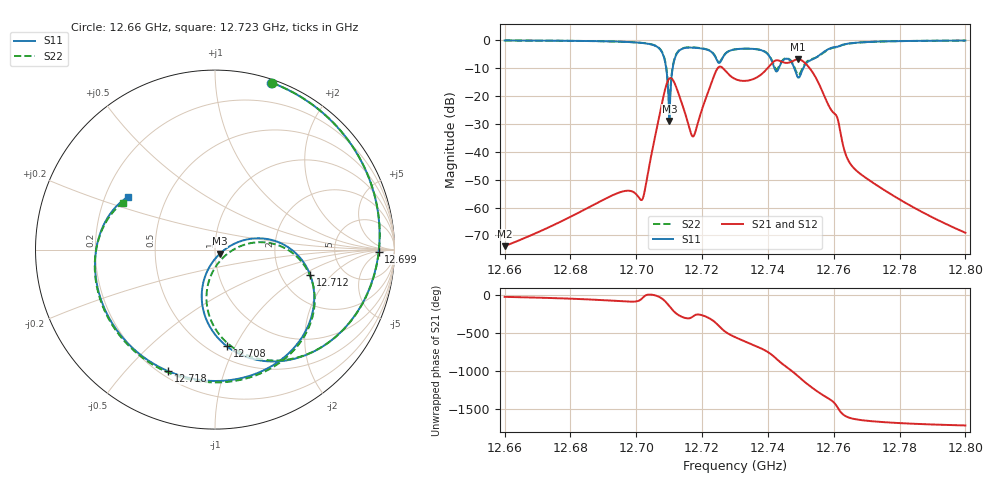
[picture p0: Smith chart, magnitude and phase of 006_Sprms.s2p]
! TOUCHSTONE file generated by CST MICROWAVE STUDIO
! Date and time: Wed Jul 31 10:53:12 2024
! Project name: WaveGuide_BPF-Ver4.1_U-shape_Ku_T3_C4_CWA_2.cst
! Parameters = {cavity_h=16; cavity_l0=10; cavity_l1=15.1816; cavity_l2=16.8329; cavity_l3=17.0852; cavity_l4=17.2877; cavity_l5=17.0867; cavity_l6=17.5606; cavity_r=2.5; cavity_screw_l=0.5; cavity_screw_r=1.5; cavity_w=8; iris_h00=0; iris_h01=8.8383; iris_h112=0; iris_h12=5.592; iris_h211=3.6511; i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
! Header version: 2018
! Port assignment regex: !\s*Touchstone port\s*([0-9]+)\s*=\s*(CST MWS port|CST DS port)\s*([0-9]+|Zmin|Zmax)\s*\(\"(.*)\"\)(\s*mode\s*([0-9]+))?.*
! Touchstone port assignment:
! Touchstone port 1 = CST MWS port 1 ("")
! Touchstone port 2 = CST MWS port 2 ("")
# GHz S RI R 50
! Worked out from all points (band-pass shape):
!   5001 points, 12.66 GHz to 12.8 GHz, reference 50 ohm
!   highest |S21| = -6.90 dB at 12.749 GHz (marker M1); lowest = -73.8 dB at 12.66 GHz (marker M2)
!   |S21| within 3 dB of the highest: 12.72486 GHz to 12.72615 GHz (1.283 MHz wide, 0.0101 % of centre); 12.74003 GHz to 12.75254 GHz (12.52 MHz wide, 0.0982 % of centre)
!   lowest |S11| = -29.0 dB at 12.71 GHz (marker M3), VSWR 1.07, Z = 52.8 - j2.38 ohm
!   |S11| at or under -10 dB: 12.70908 GHz to 12.71107 GHz (1.985 MHz wide, 0.0156 % of centre); 12.74195 GHz to 12.74333 GHz (1.383 MHz wide, 0.0109 % of centre); 12.74799 GHz to 12.75076 GHz (2.768 MHz wide, 0.0217 % of centre)
!   |S22| runs from -23.9 to -0.2 dB; largest |S21 - S12| = 1e-09
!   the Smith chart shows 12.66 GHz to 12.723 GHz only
!   S11 on the Smith chart (normalised r, x): 12.66 GHz: 0.03, +1.39; 12.699 GHz: 21, -3; 12.708 GHz: 0.61, -0.93; 12.712 GHz: 2.90, -1.19; 12.718 GHz: 0.23, -0.66; 12.723 GHz: 0.30, +0.26
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12.66  0.3128 0.9308  0.000188 -7.75e-05  0.000188 -7.75e-05  0.316 0.9298
12.68335  0.7045 0.6565  0.000528 -0.000677  0.000528 -0.000677  0.7053 0.6561
12.699  0.9118 -0.0114  0.000149 -0.00191  0.000149 -0.00191  0.9136 -0.00285
12.70208  0.8443 -0.2542  0.00132 -0.00072  0.00132 -0.00072  0.8513 -0.2415
12.70668  0.3906 -0.6185  0.0335 -0.0105  0.0335 -0.0105  0.4216 -0.6099
12.70816  0.0664 -0.5388  0.0512 -0.0765  0.0512 -0.0765  0.1034 -0.548
12.71006  0.0275 -0.0225  -0.1692 -0.1148  -0.1692 -0.1148  0.047 -0.0429
12.71219  0.531 -0.1427  -0.0631 0.125  -0.0631 0.125  0.5382 -0.1687
12.7179  -0.2619 -0.6769  -0.00336 0.0219  -0.00336 0.0219  -0.2481 -0.6903
12.72342  -0.4839 0.294  0.198 0.0757  0.198 0.0757  -0.5111 0.2619
12.726  -0.3366 0.3005  0.0284 -0.3239  0.0284 -0.3239  -0.3575 0.2916
12.73  0.2327 0.639  -0.1959 0.0454  -0.1959 0.0454  0.2011 0.6489
12.7342  0.6992 -0.00388  0.0043 0.189  0.0043 0.189  0.6978 0.0249
12.73834  0.2178 -0.6079  0.2488 0.0416  0.2488 0.0416  0.2449 -0.6008
12.74196  -0.1714 -0.2648  -0.0345 -0.4178  -0.0345 -0.4178  -0.1654 -0.2938
12.74422  -0.1536 -0.3741  -0.4085 0.00102  -0.4085 0.00102  -0.1586 -0.3865
12.74915  -0.2129 -0.0141  0.4429 0.0893  0.4429 0.0893  -0.2362 -0.0295
12.75335  -0.1678 0.4117  -0.2029 -0.1872  -0.2029 -0.1872  -0.2273 0.3967
12.75794  0.6076 -0.2722  0.000152 0.0775  0.000152 0.0775  0.6141 -0.2128
12.76388  -0.0971 -0.8474  -0.00772 -0.00266  -0.00772 -0.00266  -0.0788 -0.844
12.77668  -0.8492 -0.4207  -0.00096 0.00156  -0.00096 0.00156  -0.8497 -0.4189
12.8  -0.9599 0.1893  4.76e-05 0.00035  4.76e-05 0.00035  -0.959 0.1943
